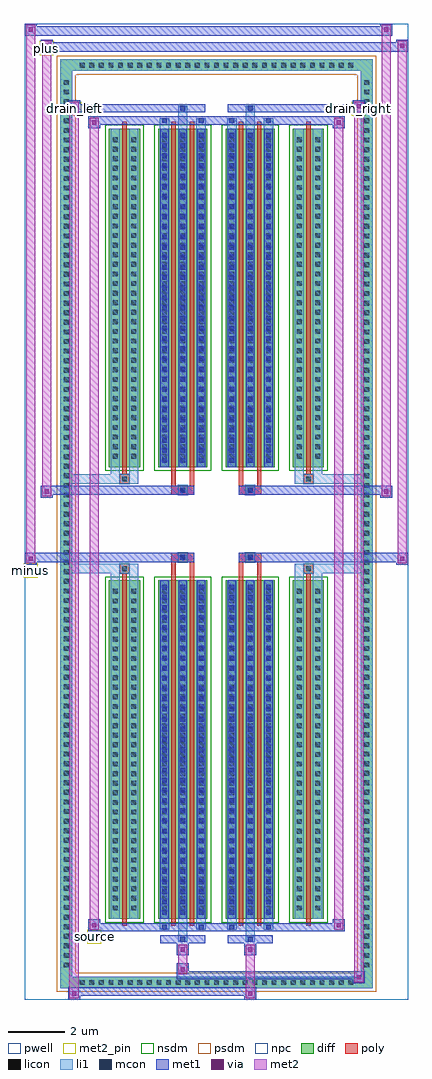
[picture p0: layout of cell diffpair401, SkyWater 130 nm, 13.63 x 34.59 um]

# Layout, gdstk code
import gdstk
lib = gdstk.Library(unit=1e-6, precision=5e-09)
def R(c, l, rs):  # rectangles x0, y0, x1, y1
    for r in rs: c.add(gdstk.rectangle(r[:2], r[2:], *l))
def A(c, l, x, y, w, h, nx, ny, dx, dy):  # array of equal rectangles
    R(c, l, [(x+i*dx, y+j*dy, x+i*dx+w, y+j*dy+h) for i in range(nx) for j in range(ny)])
def P(c, l, *ps):  # polygons
    for p in ps: c.add(gdstk.Polygon(p, *l))
pwell = (64, 44)
diff = (65, 20)
poly = (66, 20)
licon = (66, 44)
li1 = (67, 20)
mcon = (67, 44)
met1 = (68, 20)
via = (68, 44)
met2_pin = (69, 16)
met2 = (69, 20)
nsdm = (93, 44)
psdm = (94, 20)
npc = (95, 20)

diffpair401 = lib.new_cell('diffpair401')
R(diffpair401, pwell, [(-6.8,-16.86,6.8,17.73), (-4.12,-15.05,-0.01,-0.825), (0.01,-15.05,4.12,-0.825), (-4.12,0.825,-0.01,15.05), (0.01,0.825,4.12,15.05)])
A(diffpair401, diff, -4.965, -16.46, 0.41, 0.41, 29, 2, 0.34, 32.51)
A(diffpair401, diff, -5.53, -15.845, 0.41, 0.41, 1, 93, 0, 0.34)
A(diffpair401, diff, 5.12, -15.845, 0.41, 0.41, 1, 93, 0, 0.34)
R(diffpair401, diff, [(-4.965,-16.46,4.965,-16.05), (-5.53,-15.845,-5.12,15.845), (5.12,-15.845,5.53,15.845), (-3.81,-14.005,-2.71,-2.005), (-2.07,-14.005,-0.32,-2.005), (0.32,-14.005,2.07,-2.005), (2.71,-14.005,3.81,-2.005), (-3.81,2.005,-2.71,14.005), (-2.07,2.005,-0.32,14.005), (0.32,2.005,2.07,14.005), (2.71,2.005,3.81,14.005), (-4.965,16.05,4.965,16.46)])
P(diffpair401, diff, [(5.53,16.46),(-5.53,16.46),(-5.53,-16.05),(-5.12,-16.05),(-5.12,16.05),(5.12,16.05),(5.12,-16.05),(-5.12,-16.05),(-5.53,-16.05),(-5.53,-16.46),(5.53,-16.46)])
R(diffpair401, poly, [(-3.335,-14.255,-3.185,-1.755), (-1.595,-14.255,-1.445,-1.755), (-0.945,-14.255,-0.795,-1.755), (0.795,-14.255,0.945,-1.755), (1.445,-14.255,1.595,-1.755), (3.185,-14.255,3.335,-1.755), (-3.425,-1.755,-3.095,-1.425), (-3.425,-1.755,-3.095,-1.425), (-1.595,-1.755,-1.445,-1.355), (-0.945,-1.755,-0.795,-1.355), (0.795,-1.755,0.945,-1.355), (1.445,-1.755,1.595,-1.355), (3.095,-1.755,3.425,-1.425), (3.095,-1.755,3.425,-1.425), (-1.595,-1.355,-0.795,-1.025), (-1.36,-1.355,-1.03,-1.025), (0.795,-1.355,1.595,-1.025), (1.03,-1.355,1.36,-1.025), (-1.595,1.025,-0.795,1.355), (-1.36,1.025,-1.03,1.355), (0.795,1.025,1.595,1.355), (1.03,1.025,1.36,1.355), (-1.595,1.355,-1.445,1.755), (-0.945,1.355,-0.795,1.755), (0.795,1.355,0.945,1.755), (1.445,1.355,1.595,1.755), (-3.425,1.425,-3.095,1.755), (-3.425,1.425,-3.095,1.755), (3.095,1.425,3.425,1.755), (3.095,1.425,3.425,1.755), (-3.335,1.755,-3.185,14.255), (-1.595,1.755,-1.445,14.255), (-0.945,1.755,-0.795,14.255), (0.795,1.755,0.945,14.255), (1.445,1.755,1.595,14.255), (3.185,1.755,3.335,14.255)])
A(diffpair401, licon, -4.845, -16.34, 0.17, 0.17, 29, 2, 0.34, 32.51)
A(diffpair401, licon, -5.41, -15.725, 0.17, 0.17, 1, 93, 0, 0.34)
A(diffpair401, licon, 5.24, -15.725, 0.17, 0.17, 1, 93, 0, 0.34)
A(diffpair401, licon, -3.67, -13.7, 0.17, 0.17, 1, 34, 0, 0.34)
A(diffpair401, licon, -3.02, -13.7, 0.17, 0.17, 1, 34, 0, 0.34)
A(diffpair401, licon, -1.93, -13.7, 0.17, 0.17, 3, 34, 0.65, 0.34)
A(diffpair401, licon, 0.46, -13.7, 0.17, 0.17, 3, 34, 0.65, 0.34)
A(diffpair401, licon, 2.85, -13.7, 0.17, 0.17, 1, 34, 0, 0.34)
A(diffpair401, licon, 3.5, -13.7, 0.17, 0.17, 1, 34, 0, 0.34)
A(diffpair401, licon, -3.67, 2.31, 0.17, 0.17, 1, 34, 0, 0.34)
A(diffpair401, licon, -3.02, 2.31, 0.17, 0.17, 1, 34, 0, 0.34)
A(diffpair401, licon, -1.93, 2.31, 0.17, 0.17, 3, 34, 0.65, 0.34)
A(diffpair401, licon, 0.46, 2.31, 0.17, 0.17, 3, 34, 0.65, 0.34)
A(diffpair401, licon, 2.85, 2.31, 0.17, 0.17, 1, 34, 0, 0.34)
A(diffpair401, licon, 3.5, 2.31, 0.17, 0.17, 1, 34, 0, 0.34)
R(diffpair401, licon, [(-3.345,-1.675,-3.175,-1.505), (3.175,-1.675,3.345,-1.505), (-1.28,-1.275,-1.11,-1.105), (1.11,-1.275,1.28,-1.105), (-1.28,1.105,-1.11,1.275), (1.11,1.105,1.28,1.275), (-3.345,1.505,-3.175,1.675), (3.175,1.505,3.345,1.675)])
A(diffpair401, li1, -4.925, -16.42, 0.33, 0.33, 29, 2, 0.34, 32.51)
A(diffpair401, li1, -5.49, -15.805, 0.33, 0.33, 1, 93, 0, 0.34)
A(diffpair401, li1, 5.16, -15.805, 0.33, 0.33, 1, 93, 0, 0.34)
A(diffpair401, li1, -2.01, -14.005, 0.33, 12, 3, 2, 0.65, 16.01)
A(diffpair401, li1, 0.38, -14.005, 0.33, 12, 3, 2, 0.65, 16.01)
A(diffpair401, li1, -1.93, -13.85, 0.17, 0.17, 3, 33, 0.65, 0.36)
A(diffpair401, li1, -1.93, -13.85, 0.17, 11.69, 3, 2, 0.65, 16.01)
A(diffpair401, li1, 0.46, -13.85, 0.17, 0.17, 3, 33, 0.65, 0.36)
A(diffpair401, li1, 0.46, -13.85, 0.17, 11.69, 3, 2, 0.65, 16.01)
A(diffpair401, li1, -3.75, -13.78, 0.33, 0.33, 1, 34, 0, 0.34)
A(diffpair401, li1, -3.1, -13.78, 0.33, 0.33, 1, 34, 0, 0.34)
A(diffpair401, li1, -2.01, -13.78, 0.33, 0.33, 3, 34, 0.65, 0.34)
A(diffpair401, li1, 0.38, -13.78, 0.33, 0.33, 3, 34, 0.65, 0.34)
A(diffpair401, li1, 2.77, -13.78, 0.33, 0.33, 1, 34, 0, 0.34)
A(diffpair401, li1, 3.42, -13.78, 0.33, 0.33, 1, 34, 0, 0.34)
A(diffpair401, li1, -1.93, 2.16, 0.17, 0.17, 3, 33, 0.65, 0.36)
A(diffpair401, li1, 0.46, 2.16, 0.17, 0.17, 3, 33, 0.65, 0.36)
A(diffpair401, li1, -3.75, 2.23, 0.33, 0.33, 1, 34, 0, 0.34)
A(diffpair401, li1, -3.1, 2.23, 0.33, 0.33, 1, 34, 0, 0.34)
A(diffpair401, li1, -2.01, 2.23, 0.33, 0.33, 3, 34, 0.65, 0.34)
A(diffpair401, li1, 0.38, 2.23, 0.33, 0.33, 3, 34, 0.65, 0.34)
A(diffpair401, li1, 2.77, 2.23, 0.33, 0.33, 1, 34, 0, 0.34)
A(diffpair401, li1, 3.42, 2.23, 0.33, 0.33, 1, 34, 0, 0.34)
R(diffpair401, li1, [(-5.53,-16.46,-5.12,-16.05), (-5.53,-16.46,-5.12,-16.05), (-5.12,-16.46,5.12,-16.05), (5.12,-16.46,5.53,-16.05), (5.12,-16.46,5.53,-16.05), (-5.53,-16.05,-5.12,16.05), (5.12,-16.05,5.53,16.05), (-1.36,-14.81,-1.03,-14.005), (-1.28,-14.81,-1.11,-14.64), (1.03,-14.81,1.36,-14.005), (1.11,-14.81,1.28,-14.64), (-2.01,-14.38,-1.68,-14.005), (-1.93,-14.38,-1.76,-14.21), (-0.71,-14.38,-0.38,-14.005), (-0.63,-14.38,-0.46,-14.21), (0.38,-14.38,0.71,-14.005), (0.46,-14.38,0.63,-14.21), (1.68,-14.38,2.01,-14.005), (1.76,-14.38,1.93,-14.21), (-3.75,-14.005,-3.42,-2.005), (-3.1,-14.005,-2.77,-2.005), (2.77,-14.005,3.1,-2.005), (3.42,-14.005,3.75,-2.005), (-3.75,-2.005,-3.42,-1.425), (-3.1,-2.005,-2.77,-1.425), (2.77,-2.005,3.1,-1.425), (3.42,-2.005,3.75,-1.425), (-5.53,-1.755,-3.425,-1.425), (-3.75,-1.755,-3.425,-1.425), (-3.425,-1.755,-3.095,-1.425), (-3.095,-1.755,-2.77,-1.425), (2.77,-1.755,3.095,-1.425), (3.095,-1.755,3.425,-1.425), (3.095,-1.755,5.53,-1.425), (3.425,-1.755,3.75,-1.425), (-1.36,-1.355,-1.03,-1.025), (1.03,-1.355,1.36,-1.025), (-1.36,1.025,-1.03,1.355), (1.03,1.025,1.36,1.355), (-5.53,1.425,-3.425,1.755), (-3.75,1.425,-3.425,1.755), (-3.75,1.425,-3.42,2.005), (-3.425,1.425,-3.095,1.755), (-3.1,1.425,-2.77,2.005), (-3.095,1.425,-2.77,1.755), (2.77,1.425,3.095,1.755), (2.77,1.425,3.1,2.005), (3.095,1.425,3.425,1.755), (3.095,1.425,5.53,1.755), (3.42,1.425,3.75,2.005), (3.425,1.425,3.75,1.755), (-3.75,2.005,-3.42,14.005), (-3.1,2.005,-2.77,14.005), (2.77,2.005,3.1,14.005), (3.42,2.005,3.75,14.005), (-2.01,14.005,-1.68,14.38), (-1.36,14.005,-1.03,14.81), (-0.71,14.005,-0.38,14.38), (0.38,14.005,0.71,14.38), (1.03,14.005,1.36,14.81), (1.68,14.005,2.01,14.38), (-1.93,14.21,-1.76,14.38), (-0.63,14.21,-0.46,14.38), (0.46,14.21,0.63,14.38), (1.76,14.21,1.93,14.38), (-1.28,14.64,-1.11,14.81), (1.11,14.64,1.28,14.81), (-5.53,16.05,-5.12,16.46), (-5.53,16.05,-5.12,16.46), (-5.12,16.05,5.12,16.46), (5.12,16.05,5.53,16.46), (5.12,16.05,5.53,16.46)])
A(diffpair401, mcon, -1.93, -13.85, 0.17, 0.17, 3, 33, 0.65, 0.36)
A(diffpair401, mcon, 0.46, -13.85, 0.17, 0.17, 3, 33, 0.65, 0.36)
A(diffpair401, mcon, -1.93, 2.16, 0.17, 0.17, 3, 33, 0.65, 0.36)
A(diffpair401, mcon, 0.46, 2.16, 0.17, 0.17, 3, 33, 0.65, 0.36)
R(diffpair401, mcon, [(-1.28,-14.81,-1.11,-14.64), (1.11,-14.81,1.28,-14.64), (-1.93,-14.38,-1.76,-14.21), (-0.63,-14.38,-0.46,-14.21), (0.46,-14.38,0.63,-14.21), (1.76,-14.38,1.93,-14.21), (-1.28,-1.275,-1.11,-1.105), (1.11,-1.275,1.28,-1.105), (-1.28,1.105,-1.11,1.275), (1.11,1.105,1.28,1.275), (-1.93,14.21,-1.76,14.38), (-0.63,14.21,-0.46,14.38), (0.46,14.21,0.63,14.38), (1.76,14.21,1.93,14.38), (-1.28,14.64,-1.11,14.81), (1.11,14.64,1.28,14.81)])
A(diffpair401, met1, -1.99, -14.005, 0.29, 12, 3, 2, 0.65, 16.01)
A(diffpair401, met1, 0.4, -14.005, 0.29, 12, 3, 2, 0.65, 16.01)
A(diffpair401, met1, -1.99, -13.91, 0.29, 0.29, 3, 33, 0.65, 0.36)
A(diffpair401, met1, 0.4, -13.91, 0.29, 0.29, 3, 33, 0.65, 0.36)
A(diffpair401, met1, -1.99, 2.1, 0.29, 0.29, 3, 33, 0.65, 0.36)
A(diffpair401, met1, 0.4, 2.1, 0.29, 0.29, 3, 33, 0.65, 0.36)
R(diffpair401, met1, [(-5.26,-16.86,-4.83,-16.43), (0.98,-16.86,1.41,-16.43), (-5.26,-16.72,1.41,-16.43), (4.83,-16.29,5.26,-15.86), (-1.41,-16.15,5.26,-15.86), (-1.41,-16.01,-0.98,-15.58), (-1.41,-15.3,-0.98,-14.87), (0.98,-15.3,1.41,-14.87), (-1.99,-14.87,-0.4,-14.58), (-1.34,-14.87,-1.05,-14.58), (0.4,-14.87,1.99,-14.58), (1.05,-14.87,1.34,-14.58), (-4.55,-14.44,-4.12,-14.01), (-4.55,-14.44,-1.99,-14.15), (-1.99,-14.44,-1.7,-14.15), (-1.99,-14.44,-0.4,-14.15), (-0.69,-14.44,-0.4,-14.15), (-0.4,-14.44,0.4,-14.15), (0.4,-14.44,0.69,-14.15), (0.4,-14.44,1.99,-14.15), (1.7,-14.44,1.99,-14.15), (1.99,-14.44,4.55,-14.15), (4.12,-14.44,4.55,-14.01), (-6.8,-1.455,-6.37,-1.025), (6.37,-1.455,6.8,-1.025), (-6.8,-1.355,-0.795,-1.025), (-1.595,-1.355,-0.795,-1.025), (0.795,-1.355,1.595,-1.025), (0.795,-1.355,6.8,-1.025), (-1.34,-1.335,-1.05,-1.045), (1.05,-1.335,1.34,-1.045), (-6.23,0.925,-5.8,1.355), (5.8,0.925,6.23,1.355), (-6.23,1.025,-1.595,1.355), (-1.595,1.025,-0.795,1.355), (0.795,1.025,1.595,1.355), (1.595,1.025,6.23,1.355), (-1.34,1.045,-1.05,1.335), (1.05,1.045,1.34,1.335), (-4.55,14.01,-4.12,14.44), (4.12,14.01,4.55,14.44), (-4.55,14.15,-1.99,14.44), (-1.99,14.15,-1.7,14.44), (-1.99,14.15,-0.4,14.44), (-0.69,14.15,-0.4,14.44), (-0.4,14.15,0.4,14.44), (0.4,14.15,0.69,14.44), (0.4,14.15,1.99,14.44), (1.7,14.15,1.99,14.44), (1.99,14.15,4.55,14.44), (-5.26,14.58,-4.83,15.01), (-5.26,14.58,-1.99,14.87), (-1.99,14.58,-0.4,14.87), (-1.34,14.58,-1.05,14.87), (0.4,14.58,1.99,14.87), (1.05,14.58,1.34,14.87), (1.99,14.58,5.26,14.87), (4.83,14.58,5.26,15.01), (-6.23,16.73,-5.8,17.16), (-6.23,16.73,-4.12,17.06), (-4.12,16.73,4.12,17.06), (4.12,16.73,6.8,17.06), (6.37,16.73,6.8,17.16), (-6.8,17.3,-6.37,17.73), (-6.8,17.3,-4.12,17.63), (-4.12,17.3,4.12,17.63), (4.12,17.3,6.23,17.63), (5.8,17.3,6.23,17.73)])
R(diffpair401, via, [(-5.12,-16.72,-4.97,-16.57), (1.12,-16.72,1.27,-16.57), (4.97,-16.15,5.12,-16), (-1.27,-15.87,-1.12,-15.72), (-1.27,-15.16,-1.12,-15.01), (1.12,-15.16,1.27,-15.01), (-4.41,-14.3,-4.26,-14.15), (4.26,-14.3,4.41,-14.15), (-6.66,-1.315,-6.51,-1.165), (6.51,-1.315,6.66,-1.165), (-6.09,1.065,-5.94,1.215), (5.94,1.065,6.09,1.215), (-4.41,14.15,-4.26,14.3), (4.26,14.15,4.41,14.3), (-5.12,14.72,-4.97,14.87), (4.97,14.72,5.12,14.87), (-6.09,16.87,-5.94,17.02), (6.51,16.87,6.66,17.02), (-6.66,17.44,-6.51,17.59), (5.94,17.44,6.09,17.59)])
R(diffpair401, met2_pin, [(-4.585,-14.89,-4.085,-14.39), (-6.835,-1.905,-6.335,-1.405), (-5.295,14.46,-4.795,14.96), (4.795,14.46,5.295,14.96), (-6.265,16.61,-5.765,17.11)])
R(diffpair401, met2, [(-5.21,-16.81,-4.88,-16.48), (-5.21,-16.81,-4.88,14.96), (1.03,-16.81,1.36,-16.48), (1.03,-16.48,1.36,-15.25), (4.88,-16.24,5.21,-15.91), (4.88,-16.24,5.21,14.96), (-1.36,-15.96,-1.03,-15.63), (-1.36,-15.63,-1.03,-15.25), (-1.36,-15.25,-1.03,-14.92), (1.03,-15.25,1.36,-14.92), (-4.5,-14.39,-4.17,-14.06), (-4.5,-14.39,-4.17,14.39), (4.17,-14.39,4.5,-14.06), (4.17,-14.39,4.5,14.39), (-6.75,-1.405,-6.42,-1.075), (-6.75,-1.405,-6.42,17.68), (6.42,-1.405,6.75,-1.075), (6.42,-1.405,6.75,17.11), (-6.18,0.975,-5.85,1.305), (-6.18,0.975,-5.85,17.11), (5.85,0.975,6.18,1.305), (5.85,0.975,6.18,17.68), (-4.5,14.06,-4.17,14.39), (4.17,14.06,4.5,14.39), (-5.21,14.63,-4.88,14.96), (4.88,14.63,5.21,14.96), (-6.18,16.78,-5.85,17.11), (6.42,16.78,6.75,17.11), (-6.75,17.35,-6.42,17.68), (5.85,17.35,6.18,17.68)])
P(diffpair401, met2, [(6.75,-1.405),(6.75,-1.405),(6.75,-1.075),(6.75,-1.075)],
  [(6.75,16.78),(6.75,16.78),(6.75,17.11),(6.75,17.11)],
  [(-6.42,-1.405),(-6.42,-1.405),(-6.42,-1.075),(-6.42,-1.075)],
  [(-6.42,17.35),(-6.42,17.35),(-6.42,17.68),(-6.42,17.68)],
  [(6.18,0.975),(6.18,0.975),(6.18,1.305),(6.18,1.305)],
  [(6.18,17.35),(6.18,17.35),(6.18,17.68),(6.18,17.68)],
  [(-5.85,0.975),(-5.85,0.975),(-5.85,1.305),(-5.85,1.305)],
  [(-5.85,16.78),(-5.85,16.78),(-5.85,17.11),(-5.85,17.11)],
  [(-4.88,-16.81),(-4.88,-16.81),(-4.88,-16.48),(-4.88,-16.48)],
  [(-4.88,14.63),(-4.88,14.63),(-4.88,14.96),(-4.88,14.96)],
  [(5.21,-16.24),(5.21,-16.24),(5.21,-15.91),(5.21,-15.91)],
  [(5.21,14.63),(5.21,14.63),(5.21,14.96),(5.21,14.96)],
  [(-4.17,-14.39),(-4.17,-14.39),(-4.17,-14.06),(-4.17,-14.06)],
  [(-4.17,14.06),(-4.17,14.06),(-4.17,14.39),(-4.17,14.39)],
  [(4.5,-14.39),(4.5,-14.39),(4.5,-14.06),(4.5,-14.06)],
  [(4.5,14.06),(4.5,14.06),(4.5,14.39),(4.5,14.39)])
R(diffpair401, nsdm, [(-3.94,-14.135,-2.58,-1.875), (-2.2,-14.135,-0.19,-1.875), (0.19,-14.135,2.2,-1.875), (2.58,-14.135,3.94,-1.875), (-3.94,1.875,-2.58,14.135), (-2.2,1.875,-0.19,14.135), (0.19,1.875,2.2,14.135), (2.58,1.875,3.94,14.135)])
P(diffpair401, psdm, [(5.66,16.59),(-5.66,16.59),(-5.66,-15.92),(-4.99,-15.92),(-4.99,15.92),(4.99,15.92),(4.99,-15.92),(-4.99,-15.92),(-5.66,-15.92),(-5.66,-16.59),(5.66,-16.59)])
R(diffpair401, npc, [(-3.445,-1.775,-3.075,-1.405), (3.075,-1.775,3.445,-1.405), (-1.38,-1.375,-1.01,-1.005), (1.01,-1.375,1.38,-1.005), (-1.38,1.005,-1.01,1.375), (1.01,1.005,1.38,1.375), (-3.445,1.405,-3.075,1.775), (3.075,1.405,3.445,1.775)])
diffpair401.add(gdstk.Label('minus', (-6.585,-1.655), layer=69, texttype=5))
diffpair401.add(gdstk.Label('drain_right', (5.045,14.71), layer=69, texttype=5))
diffpair401.add(gdstk.Label('drain_left', (-5.045,14.71), layer=69, texttype=5))
diffpair401.add(gdstk.Label('source', (-4.335,-14.64), layer=69, texttype=5))
diffpair401.add(gdstk.Label('plus', (-6.015,16.86), layer=69, texttype=5))

lib.write_gds('diffpair401.gds')
